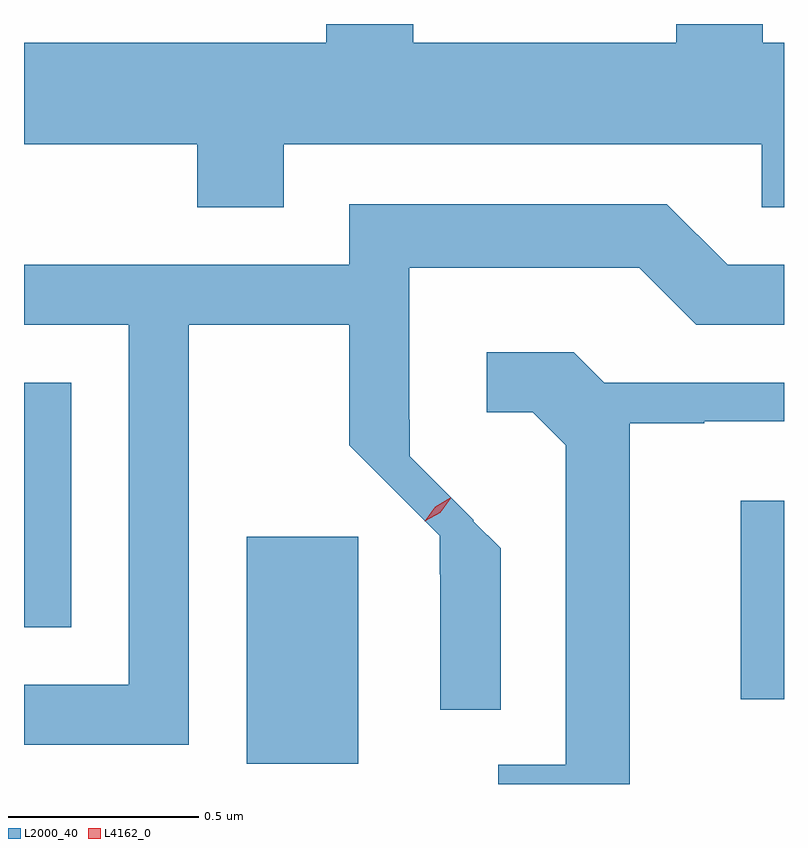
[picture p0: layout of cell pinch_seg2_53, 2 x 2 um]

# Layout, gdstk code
import gdstk
lib = gdstk.Library(unit=1e-6, precision=1e-09)
def R(c, l, rs):  # rectangles x0, y0, x1, y1
    for r in rs: c.add(gdstk.rectangle(r[:2], r[2:], *l))
def P(c, l, *ps):  # polygons
    for p in ps: c.add(gdstk.Polygon(p, *l))
L2000_40 = (2000, 40)
L4162_0 = (4162, 0)

pinch_seg2_53 = lib.new_cell('pinch_seg2_53')
R(pinch_seg2_53, L2000_40, [(1221.631,1095.526,1221.924,1096.124), (1222.931,1095.696,1223.045,1096.219), (1221.045,1095.886,1221.169,1096.529)])
P(pinch_seg2_53, L2000_40, [(1221.729,1097.156),(1222.986,1097.156),(1222.986,1096.991),(1223.045,1096.991),(1223.045,1097.424),(1222.989,1097.424),(1222.989,1097.473),(1222.761,1097.473),(1222.761,1097.424),(1222.069,1097.424),(1222.069,1097.473),(1221.841,1097.473),(1221.841,1097.424),(1221.045,1097.424),(1221.045,1097.156),(1221.501,1097.156),(1221.501,1096.991),(1221.729,1096.991)],
  [(1221.479,1096.681),(1221.901,1096.681),(1221.901,1096.364),(1222.139,1096.126),(1222.139,1096.025),(1222.141,1096.025),(1222.141,1095.668),(1222.299,1095.668),(1222.299,1096.093),(1222.227,1096.165),(1222.229,1096.167),(1222.06,1096.336),(1222.06,1096.432),(1222.059,1096.432),(1222.059,1096.831),(1222.664,1096.831),(1222.814,1096.681),(1223.045,1096.681),(1223.045,1096.839),(1222.897,1096.839),(1222.737,1096.999),(1221.901,1096.999),(1221.901,1096.839),(1221.045,1096.839),(1221.045,1096.681),(1221.321,1096.681),(1221.321,1095.734),(1221.045,1095.734),(1221.045,1095.576),(1221.479,1095.576)],
  [(1222.639,1096.423),(1222.835,1096.423),(1222.835,1096.428),(1223.045,1096.428),(1223.045,1096.529),(1222.572,1096.529),(1222.492,1096.609),(1222.263,1096.609),(1222.263,1096.451),(1222.384,1096.451),(1222.471,1096.364),(1222.471,1095.524),(1222.293,1095.524),(1222.293,1095.473),(1222.639,1095.473)])
P(pinch_seg2_53, L4162_0, [(1222.1,1096.164),(1222.1,1096.165),(1222.127,1096.202),(1222.167,1096.226),(1222.168,1096.226),(1222.168,1096.225),(1222.14,1096.187),(1222.1,1096.164)],
  [(1222.104,1096.168),(1222.104,1096.169),(1222.128,1096.202),(1222.163,1096.221),(1222.164,1096.221),(1222.164,1096.22),(1222.141,1096.187),(1222.105,1096.168)])

lib.write_gds('pinch_seg2_53.gds')
